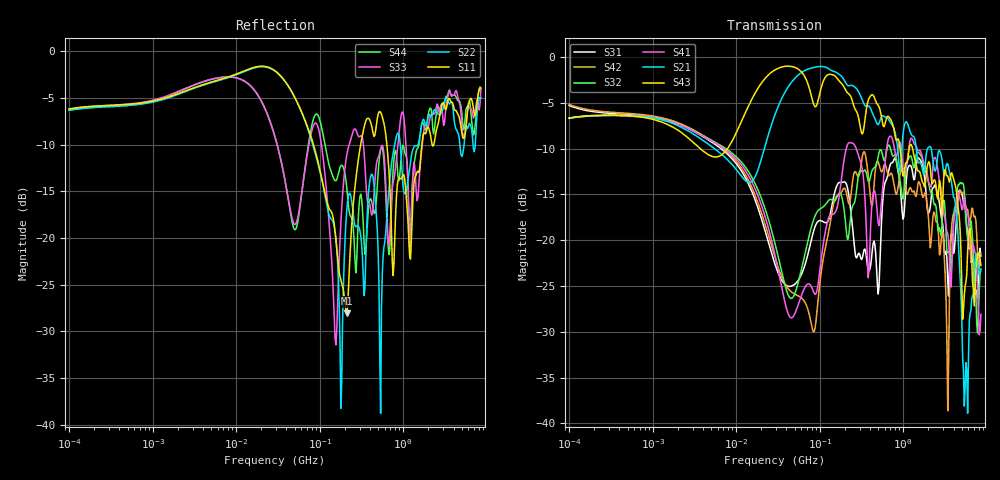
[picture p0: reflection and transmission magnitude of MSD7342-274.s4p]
# MHz S MA R 50
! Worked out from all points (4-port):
!   498 points, 100 kHz to 8.5 GHz, reference 50 ohm
!   strongest paths, dB at 100 kHz, 1.698 MHz, 29.49 MHz, 500.7 MHz, 8.5 GHz:
!     S43: -6.7, -7.6, -1.4, -5.3, -22.8
!     S21: -6.7, -7.2, -6.2, -7.4, -23.2
!     S41: -6.7, -7.1, -21.8, -18.1, -28.1
!     S32: -6.7, -7.1, -20.5, -10.9, -23.1
!     S42: -5.2, -7.0, -22.0, -11.5, -21.5
!     S31: -5.3, -7.1, -22.8, -25.9, -21.7
!   lowest |S11| = -28.1 dB at 210.2 MHz (marker M1), VSWR 1.08, Z = 46.4 - j1.18 ohm
!   |S11| at or under -10 dB: 84.26 MHz to 308.9 MHz (224.7 MHz wide, 114 % of centre); 636.5 MHz to 1.671 GHz (1.035 GHz wide, 89.7 % of centre); 2.221 GHz to 2.316 GHz (95.34 MHz wide, 4.2 % of centre)
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0.1  0.4906 16.5  0.4636 15.6  0.5437 -15.4  0.462 -165.0
     0.4636 15.6  0.4836 16.6  0.4628 -165.0  0.5504 -15.1
     0.5437 -15.4  0.4628 -165.0  0.4901 16.6  0.4635 15.6
     0.462 -165.0  0.5504 -15.1  0.4635 15.6  0.4823 16.6
28.82374  0.7896 -35.0  0.4777 44.5  0.07507 166.5  0.0849 23.0
          0.4777 44.5  0.7864 -35.3  0.09799 23.0  0.08174 170.2
          0.07507 166.5  0.09799 23.0  0.3537 -64.8  0.8472 13.3
          0.0849 23.0  0.08174 170.2  0.8472 13.3  0.3551 -61.7
156.2097  0.09935 -99.5  0.8252 -33.5  0.1918 22.5  0.1444 56.9
          0.8252 -33.5  0.0987 -96.1  0.167 16.4  0.1717 57.7
          0.1918 22.5  0.167 16.4  0.02684 161.9  0.7785 -39.0
          0.1444 56.9  0.1717 57.7  0.7785 -39.0  0.2029 -44.2
210.2067  0.03948 -161.3  0.7078 -49.1  0.2005 -28.5  0.3221 31.8
          0.7078 -49.1  0.138 4.1  0.1076 -6.1  0.1786 20.0
          0.2005 -28.5  0.1076 -6.1  0.2763 38.6  0.6457 -55.8
          0.3221 31.8  0.1786 20.0  0.6457 -55.8  0.1878 -72.1
2840.13  0.491 -1.3  0.2915 -50.9  0.1353 -56.7  0.188 -64.5
         0.2915 -50.9  0.4715 -8.6  0.106 -36.7  0.09881 -55.7
         0.1353 -56.7  0.106 -36.7  0.5086 -18.5  0.1654 -49.9
         0.188 -64.5  0.09881 -55.7  0.1654 -49.9  0.5168 -2.9
4187.455  0.4822 178.3  0.1603 101.8  0.1024 -173.0  0.1452 174.1
          0.1603 101.8  0.3951 167.6  0.1526 176.1  0.1446 175.1
          0.1024 -173.0  0.1526 176.1  0.6069 -176.9  0.2005 107.3
          0.1452 174.1  0.1446 175.1  0.2005 107.3  0.5791 176.3
8500  0.6364 -58.9  0.0689 49.4  0.0819 -29.2  0.0394 -30.4
      0.0689 49.4  0.5642 -61.4  0.06971 -51.6  0.08383 -77.0
      0.0819 -29.2  0.06971 -51.6  0.6218 -42.4  0.07255 53.5
      0.0394 -30.4  0.08383 -77.0  0.07255 53.5  0.6275 -73.6
